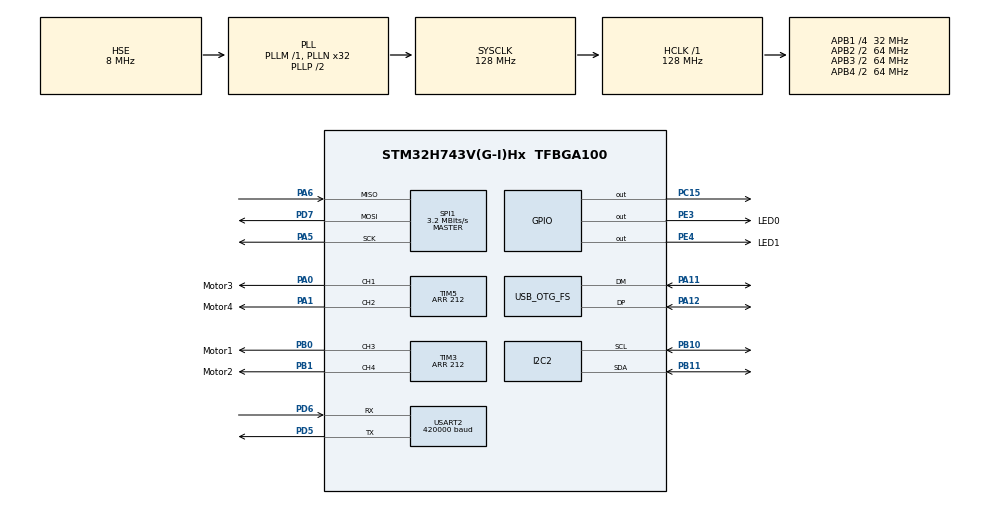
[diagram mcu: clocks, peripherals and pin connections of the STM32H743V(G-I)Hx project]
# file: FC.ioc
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CORTEX_M7.default_mode_Activation=1
Dma.Request0=TIM3_CH3
Dma.Request1=TIM3_CH4
Dma.Request2=TIM5_CH1
Dma.Request3=TIM5_CH2
Dma.Request4=USART2_RX
Dma.TIM3_CH3.0.Direction=DMA_MEMORY_TO_PERIPH
Dma.TIM3_CH3.0.EventEnable=DISABLE
Dma.TIM3_CH3.0.FIFOMode=DMA_FIFOMODE_DISABLE
Dma.TIM3_CH3.0.Instance=DMA1_Stream0
Dma.TIM3_CH3.0.MemDataAlignment=DMA_MDATAALIGN_HALFWORD
Dma.TIM3_CH3.0.MemInc=DMA_MINC_ENABLE
Dma.TIM3_CH3.0.Mode=DMA_NORMAL
Dma.TIM3_CH3.0.PeriphDataAlignment=DMA_PDATAALIGN_HALFWORD
Dma.TIM3_CH3.0.PeriphInc=DMA_PINC_DISABLE
Dma.TIM3_CH3.0.Polarity=HAL_DMAMUX_REQ_GEN_RISING
Dma.TIM3_CH3.0.Priority=DMA_PRIORITY_HIGH
Dma.TIM3_CH3.0.RequestNumber=1
Dma.TIM3_CH3.0.SignalID=NONE
Dma.TIM3_CH3.0.SyncEnable=DISABLE
Dma.TIM3_CH3.0.SyncPolarity=HAL_DMAMUX_SYNC_NO_EVENT
Dma.TIM3_CH3.0.SyncRequestNumber=1
Dma.TIM3_CH3.0.SyncSignalID=NONE
Dma.TIM3_CH4.1.Direction=DMA_MEMORY_TO_PERIPH
Dma.TIM3_CH4.1.EventEnable=DISABLE
Dma.TIM3_CH4.1.FIFOMode=DMA_FIFOMODE_DISABLE
Dma.TIM3_CH4.1.Instance=DMA1_Stream1
Dma.TIM3_CH4.1.MemDataAlignment=DMA_MDATAALIGN_HALFWORD
Dma.TIM3_CH4.1.MemInc=DMA_MINC_ENABLE
Dma.TIM3_CH4.1.Mode=DMA_NORMAL
Dma.TIM3_CH4.1.PeriphDataAlignment=DMA_PDATAALIGN_HALFWORD
Dma.TIM3_CH4.1.PeriphInc=DMA_PINC_DISABLE
Dma.TIM3_CH4.1.Polarity=HAL_DMAMUX_REQ_GEN_RISING
Dma.TIM3_CH4.1.Priority=DMA_PRIORITY_HIGH
Dma.TIM3_CH4.1.RequestNumber=1
Dma.TIM3_CH4.1.SignalID=NONE
Dma.TIM3_CH4.1.SyncEnable=DISABLE
Dma.TIM3_CH4.1.SyncPolarity=HAL_DMAMUX_SYNC_NO_EVENT
Dma.TIM3_CH4.1.SyncRequestNumber=1
Dma.TIM3_CH4.1.SyncSignalID=NONE
Dma.TIM5_CH1.2.Direction=DMA_MEMORY_TO_PERIPH
Dma.TIM5_CH1.2.EventEnable=DISABLE
Dma.TIM5_CH1.2.FIFOMode=DMA_FIFOMODE_DISABLE
Dma.TIM5_CH1.2.Instance=DMA1_Stream2
Dma.TIM5_CH1.2.MemDataAlignment=DMA_MDATAALIGN_WORD
Dma.TIM5_CH1.2.MemInc=DMA_MINC_ENABLE
Dma.TIM5_CH1.2.Mode=DMA_NORMAL
Dma.TIM5_CH1.2.PeriphDataAlignment=DMA_PDATAALIGN_WORD
Dma.TIM5_CH1.2.PeriphInc=DMA_PINC_DISABLE
Dma.TIM5_CH1.2.Polarity=HAL_DMAMUX_REQ_GEN_RISING
Dma.TIM5_CH1.2.Priority=DMA_PRIORITY_VERY_HIGH
Dma.TIM5_CH1.2.RequestNumber=1
Dma.TIM5_CH1.2.SignalID=NONE
Dma.TIM5_CH1.2.SyncEnable=DISABLE
Dma.TIM5_CH1.2.SyncPolarity=HAL_DMAMUX_SYNC_NO_EVENT
Dma.TIM5_CH1.2.SyncRequestNumber=1
Dma.TIM5_CH1.2.SyncSignalID=NONE
Dma.TIM5_CH2.3.Direction=DMA_MEMORY_TO_PERIPH
Dma.TIM5_CH2.3.EventEnable=DISABLE
Dma.TIM5_CH2.3.FIFOMode=DMA_FIFOMODE_DISABLE
Dma.TIM5_CH2.3.Instance=DMA1_Stream3
Dma.TIM5_CH2.3.MemDataAlignment=DMA_MDATAALIGN_WORD
Dma.TIM5_CH2.3.MemInc=DMA_MINC_ENABLE
Dma.TIM5_CH2.3.Mode=DMA_NORMAL
Dma.TIM5_CH2.3.PeriphDataAlignment=DMA_PDATAALIGN_WORD
Dma.TIM5_CH2.3.PeriphInc=DMA_PINC_DISABLE
Dma.TIM5_CH2.3.Polarity=HAL_DMAMUX_REQ_GEN_RISING
Dma.TIM5_CH2.3.Priority=DMA_PRIORITY_VERY_HIGH
Dma.TIM5_CH2.3.RequestNumber=1
Dma.TIM5_CH2.3.SignalID=NONE
Dma.TIM5_CH2.3.SyncEnable=DISABLE
Dma.TIM5_CH2.3.SyncPolarity=HAL_DMAMUX_SYNC_NO_EVENT
Dma.TIM5_CH2.3.SyncRequestNumber=1
Dma.TIM5_CH2.3.SyncSignalID=NONE
Dma.USART2_RX.4.Direction=DMA_PERIPH_TO_MEMORY
Dma.USART2_RX.4.EventEnable=DISABLE
Dma.USART2_RX.4.FIFOMode=DMA_FIFOMODE_DISABLE
Dma.USART2_RX.4.Instance=DMA1_Stream4
Dma.USART2_RX.4.MemDataAlignment=DMA_MDATAALIGN_BYTE
Dma.USART2_RX.4.MemInc=DMA_MINC_ENABLE
Dma.USART2_RX.4.Mode=DMA_CIRCULAR
Dma.USART2_RX.4.PeriphDataAlignment=DMA_PDATAALIGN_BYTE
Dma.USART2_RX.4.PeriphInc=DMA_PINC_DISABLE
Dma.USART2_RX.4.Polarity=HAL_DMAMUX_REQ_GEN_RISING
Dma.USART2_RX.4.Priority=DMA_PRIORITY_VERY_HIGH
Dma.USART2_RX.4.RequestNumber=1
Dma.USART2_RX.4.SignalID=NONE
Dma.USART2_RX.4.SyncEnable=DISABLE
Dma.USART2_RX.4.SyncPolarity=HAL_DMAMUX_SYNC_NO_EVENT
Dma.USART2_RX.4.SyncRequestNumber=1
Dma.USART2_RX.4.SyncSignalID=NONE
FREERTOS.Tasks01=defaultTask,24,1024,StartDefaultTask,Default,NULL,Dynamic,NULL,NULL;LED_Control,8,256,StartTask02,Default,NULL,Dynamic,NULL,NULL;Attitude_Algori,8,1024,StartTask03,Default,NULL,Dynamic,NULL,NULL;PID_LOOP,32,1024,StartTask04,Default,NULL,Dynamic,NULL,NULL
I2C2.Timing=0x00707CBB
Mcu.Family=STM32H7
Mcu.Name=STM32H743V(G-I)Hx
Mcu.Package=TFBGA100
NVIC.DMA1_Stream0_IRQn=true\:5\:0\:false\:false\:true\:true\:false\:true\:true
NVIC.DMA1_Stream1_IRQn=true\:5\:0\:false\:false\:true\:true\:false\:true\:true
NVIC.DMA1_Stream2_IRQn=true\:5\:0\:false\:false\:true\:true\:false\:true\:true
NVIC.DMA1_Stream3_IRQn=true\:5\:0\:false\:false\:true\:true\:false\:true\:true
NVIC.DMA1_Stream4_IRQn=true\:5\:0\:false\:false\:true\:true\:false\:true\:true
NVIC.OTG_FS_IRQn=true\:5\:0\:false\:false\:true\:true\:false\:true\:true
NVIC.PriorityGroup=NVIC_PRIORITYGROUP_4
NVIC.TIM2_IRQn=true\:15\:0\:false\:false\:true\:false\:false\:true\:true
NVIC.TimeBase=TIM2_IRQn
NVIC.TimeBaseIP=TIM2
PA0.GPIO_Label=Motor3
PA0.GPIO_Speed=GPIO_SPEED_FREQ_VERY_HIGH
PA0.Signal=S_TIM5_CH1
PA1.GPIO_Label=Motor4
PA1.GPIO_Speed=GPIO_SPEED_FREQ_VERY_HIGH
PA1.Signal=S_TIM5_CH2
PA11.Mode=Device_Only
PA11.Signal=USB_OTG_FS_DM
PA12.Mode=Device_Only
PA12.Signal=USB_OTG_FS_DP
PA13\ (JTMS/SWDIO).Mode=Serial_Wire
PA13\ (JTMS/SWDIO).Signal=DEBUG_JTMS-SWDIO
PA14\ (JTCK/SWCLK).Mode=Serial_Wire
PA14\ (JTCK/SWCLK).Signal=DEBUG_JTCK-SWCLK
PA5.GPIO_Speed=GPIO_SPEED_FREQ_VERY_HIGH
PA5.Mode=Full_Duplex_Master
PA5.Signal=SPI1_SCK
PA6.GPIO_Speed=GPIO_SPEED_FREQ_VERY_HIGH
PA6.Mode=Full_Duplex_Master
PA6.Signal=SPI1_MISO
PB0.GPIO_Label=Motor1
PB0.GPIO_Speed=GPIO_SPEED_FREQ_VERY_HIGH
PB0.Signal=S_TIM3_CH3
PB1.GPIO_Label=Motor2
PB1.GPIO_Speed=GPIO_SPEED_FREQ_VERY_HIGH
PB1.Signal=S_TIM3_CH4
PB10.Mode=I2C
PB10.Signal=I2C2_SCL
PB11.Mode=I2C
PB11.Signal=I2C2_SDA
PC15-OSC32_OUT\ (OSC32_OUT).PinState=GPIO_PIN_SET
PC15-OSC32_OUT\ (OSC32_OUT).Signal=GPIO_Output
PD5.Mode=Asynchronous
PD5.Signal=USART2_TX
PD6.Mode=Asynchronous
PD6.Signal=USART2_RX
PD7.GPIO_Speed=GPIO_SPEED_FREQ_VERY_HIGH
PD7.Mode=Full_Duplex_Master
PD7.Signal=SPI1_MOSI
PE3.GPIO_Label=LED0
PE3.PinState=GPIO_PIN_SET
PE3.Signal=GPIO_Output
PE4.GPIO_Label=LED1
PE4.PinState=GPIO_PIN_SET
PE4.Signal=GPIO_Output
PH0-OSC_IN\ (PH0).Mode=HSE-External-Oscillator
PH0-OSC_IN\ (PH0).Signal=RCC_OSC_IN
PH1-OSC_OUT\ (PH1).Mode=HSE-External-Oscillator
PH1-OSC_OUT\ (PH1).Signal=RCC_OSC_OUT
ProjectManager.HeapSize=0x200
ProjectManager.StackSize=0x400
ProjectManager.TargetToolchain=CMake
RCC.ADCFreq_Value=16125000
RCC.APB1Freq_Value=32000000
RCC.APB2Freq_Value=64000000
RCC.APB3Freq_Value=64000000
RCC.APB4Freq_Value=64000000
RCC.CortexFreq_Value=128000000
RCC.D1PPRE=RCC_APB3_DIV2
RCC.D2PPRE1=RCC_APB1_DIV4
RCC.D2PPRE2=RCC_APB2_DIV2
RCC.D3PPRE=RCC_APB4_DIV2
RCC.DIVM1=1
RCC.DIVN1=32
RCC.DIVQ1=5
RCC.HCLKFreq_Value=128000000
RCC.HSE_VALUE=8000000
RCC.PLL2FRACN=0
RCC.PLL3FRACN=0
RCC.PLLFRACN=0
RCC.PLLSourceVirtual=RCC_PLLSOURCE_HSE
RCC.RCC_TIM_PRescaler_Selection=RCC_TIMPRES_ACTIVATED
RCC.SYSCLKFreq_VALUE=128000000
RCC.SYSCLKSource=RCC_SYSCLKSOURCE_PLLCLK
RCC.Tim1Mul=4
RCC.USBCLockSelection=RCC_USBCLKSOURCE_HSI48
RCC.USBFreq_Value=48000000
SH.S_TIM3_CH3.0=TIM3_CH3,PWM Generation3 CH3
SH.S_TIM3_CH4.0=TIM3_CH4,PWM Generation4 CH4
SH.S_TIM5_CH1.0=TIM5_CH1,PWM Generation1 CH1
SH.S_TIM5_CH2.0=TIM5_CH2,PWM Generation2 CH2
SPI1.BaudRatePrescaler=SPI_BAUDRATEPRESCALER_16
SPI1.CalculateBaudRate=3.2 MBits/s
SPI1.DataSize=SPI_DATASIZE_8BIT
SPI1.Direction=SPI_DIRECTION_2LINES
SPI1.Mode=SPI_MODE_MASTER
SPI1.VirtualType=VM_MASTER
TIM3.Channel-PWM\ Generation3\ CH3=TIM_CHANNEL_3
TIM3.Channel-PWM\ Generation4\ CH4=TIM_CHANNEL_4
TIM3.Period=212
TIM5.Channel-PWM\ Generation1\ CH1=TIM_CHANNEL_1
TIM5.Channel-PWM\ Generation2\ CH2=TIM_CHANNEL_2
TIM5.Period=212
USART2.BaudRate=420000
USART2.VirtualMode-Asynchronous=VM_ASYNC
USB_DEVICE.CLASS_NAME_FS=CDC
USB_DEVICE.VirtualMode-CDC_FS=Cdc
USB_DEVICE.VirtualModeFS=Cdc_FS
USB_OTG_FS.VirtualMode=Device_Only
VP_FREERTOS_VS_CMSIS_V2.Mode=CMSIS_V2
VP_SYS_VS_tim2.Mode=TIM2
VP_TIM3_VS_ClockSourceINT.Mode=Internal
VP_TIM5_VS_ClockSourceINT.Mode=Internal
VP_USB_DEVICE_VS_USB_DEVICE_CDC_FS.Mode=CDC_FS
board=custom

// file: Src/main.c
/* USER CODE BEGIN Header */
/**
  ******************************************************************************
  * @file           : main.c
  * @brief          : Main program body
  ******************************************************************************
  * @attention
  *
  * Copyright (c) 2026 STMicroelectronics.
  * All rights reserved.
  *
  * This software is licensed under terms that can be found in the LICENSE file
  * in the root directory of this software component.
  * If no LICENSE file comes with this software, it is provided AS-IS.
  *
  ******************************************************************************
  */
/* USER CODE END Header */
#include "main.h"
#include "cmsis_os.h"
#include "dma.h"
#include "i2c.h"
#include "spi.h"
#include "tim.h"
#include "usart.h"
#include "usb_device.h"
#include "gpio.h"

/* USER CODE BEGIN Includes */
#include "Motor_Control.h"
#include "dfu.h"
/* USER CODE END Includes */

void SystemClock_Config(void);
void PeriphCommonClock_Config(void);
static void MPU_Config(void);
void MX_FREERTOS_Init(void);

int main(void)
{

  /* USER CODE BEGIN 1 */
  DFU_CheckBootRequest();

  /* USER CODE END 1 */

  /* MPU Configuration--------------------------------------------------------*/
  MPU_Config();

  /* MCU Configuration--------------------------------------------------------*/

  /* Reset of all peripherals, Initializes the Flash interface and the Systick. */
  HAL_Init();

  /* Configure the system clock */
  SystemClock_Config();

/* Configure the peripherals common clocks */
  PeriphCommonClock_Config();

  /* Initialize all configured peripherals */
  MX_GPIO_Init();
  MX_DMA_Init();
  MX_TIM3_Init();
  MX_TIM5_Init();
  MX_SPI1_Init();
  MX_I2C2_Init();
  MX_USART2_UART_Init();
  /* USER CODE BEGIN 2 */
//  Motor_Test_Run();

  /* USER CODE END 2 */

  /* Init scheduler */
  osKernelInitialize();

  /* Call init function for freertos objects (in cmsis_os2.c) */
  MX_FREERTOS_Init();

  /* Start scheduler */
  osKernelStart();

  /* We should never get here as control is now taken by the scheduler */

  /* Infinite loop */
  while (1)
  {

  }
}

void SystemClock_Config(void)
{
  RCC_OscInitTypeDef RCC_OscInitStruct = {0};
  RCC_ClkInitTypeDef RCC_ClkInitStruct = {0};

  /** Supply configuration update enable
  */
  HAL_PWREx_ConfigSupply(PWR_LDO_SUPPLY);

  /** Configure the main internal regulator output voltage
  */
  __HAL_PWR_VOLTAGESCALING_CONFIG(PWR_REGULATOR_VOLTAGE_SCALE3);

  while(!__HAL_PWR_GET_FLAG(PWR_FLAG_VOSRDY)) {}

  /** Initializes the RCC Oscillators according to the specified parameters
  * in the RCC_OscInitTypeDef structure.
  */
  RCC_OscInitStruct.OscillatorType = RCC_OSCILLATORTYPE_HSI48|RCC_OSCILLATORTYPE_HSE;
  RCC_OscInitStruct.HSEState = RCC_HSE_ON;
  RCC_OscInitStruct.HSI48State = RCC_HSI48_ON;
  RCC_OscInitStruct.PLL.PLLState = RCC_PLL_ON;
  RCC_OscInitStruct.PLL.PLLSource = RCC_PLLSOURCE_HSE;
  RCC_OscInitStruct.PLL.PLLM = 1;
  RCC_OscInitStruct.PLL.PLLN = 32;
  RCC_OscInitStruct.PLL.PLLP = 2;
  RCC_OscInitStruct.PLL.PLLQ = 5;
  RCC_OscInitStruct.PLL.PLLR = 2;
  RCC_OscInitStruct.PLL.PLLRGE = RCC_PLL1VCIRANGE_3;
  RCC_OscInitStruct.PLL.PLLVCOSEL = RCC_PLL1VCOWIDE;
  RCC_OscInitStruct.PLL.PLLFRACN = 0;
  if (HAL_RCC_OscConfig(&RCC_OscInitStruct) != HAL_OK)
  {
    Error_Handler();
  }

  /** Initializes the CPU, AHB and APB buses clocks
  */
  RCC_ClkInitStruct.ClockType = RCC_CLOCKTYPE_HCLK|RCC_CLOCKTYPE_SYSCLK
                              |RCC_CLOCKTYPE_PCLK1|RCC_CLOCKTYPE_PCLK2
                              |RCC_CLOCKTYPE_D3PCLK1|RCC_CLOCKTYPE_D1PCLK1;
  RCC_ClkInitStruct.SYSCLKSource = RCC_SYSCLKSOURCE_PLLCLK;
  RCC_ClkInitStruct.SYSCLKDivider = RCC_SYSCLK_DIV1;
  RCC_ClkInitStruct.AHBCLKDivider = RCC_HCLK_DIV1;
  RCC_ClkInitStruct.APB3CLKDivider = RCC_APB3_DIV2;
  RCC_ClkInitStruct.APB1CLKDivider = RCC_APB1_DIV4;
  RCC_ClkInitStruct.APB2CLKDivider = RCC_APB2_DIV2;
  RCC_ClkInitStruct.APB4CLKDivider = RCC_APB4_DIV2;

  if (HAL_RCC_ClockConfig(&RCC_ClkInitStruct, FLASH_LATENCY_2) != HAL_OK)
  {
    Error_Handler();
  }
}

void PeriphCommonClock_Config(void)
{
  RCC_PeriphCLKInitTypeDef PeriphClkInitStruct = {0};

  /** Initializes the peripherals clock
  */
  PeriphClkInitStruct.PeriphClockSelection = RCC_PERIPHCLK_TIM;
  PeriphClkInitStruct.TIMPresSelection = RCC_TIMPRES_ACTIVATED;

  if (HAL_RCCEx_PeriphCLKConfig(&PeriphClkInitStruct) != HAL_OK)
  {
    Error_Handler();
  }
}

 /* MPU Configuration */

void MPU_Config(void)
{
  MPU_Region_InitTypeDef MPU_InitStruct = {0};

  /* Disables the MPU */
  HAL_MPU_Disable();

  /** Initializes and configures the Region and the memory to be protected
  */
  MPU_InitStruct.Enable = MPU_REGION_ENABLE;
  MPU_InitStruct.Number = MPU_REGION_NUMBER0;
  MPU_InitStruct.BaseAddress = 0x0;
  MPU_InitStruct.Size = MPU_REGION_SIZE_4GB;
  MPU_InitStruct.SubRegionDisable = 0x87;
  MPU_InitStruct.TypeExtField = MPU_TEX_LEVEL0;
  MPU_InitStruct.AccessPermission = MPU_REGION_NO_ACCESS;
  MPU_InitStruct.DisableExec = MPU_INSTRUCTION_ACCESS_DISABLE;
  MPU_InitStruct.IsShareable = MPU_ACCESS_SHAREABLE;
  MPU_InitStruct.IsCacheable = MPU_ACCESS_NOT_CACHEABLE;
  MPU_InitStruct.IsBufferable = MPU_ACCESS_NOT_BUFFERABLE;

  HAL_MPU_ConfigRegion(&MPU_InitStruct);
  /* Enables the MPU */
  HAL_MPU_Enable(MPU_PRIVILEGED_DEFAULT);

}

void HAL_TIM_PeriodElapsedCallback(TIM_HandleTypeDef *htim)
{
  if (htim->Instance == TIM2) {
    HAL_IncTick();
  }
}

void Error_Handler(void)
{
  __disable_irq();
  while (1)
  {
  }
}

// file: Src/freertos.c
/* USER CODE BEGIN Header */
/**
  ******************************************************************************
  * File Name          : freertos.c
  * Description        : Code for freertos applications
  ******************************************************************************
  * @attention
  *
  * Copyright (c) 2026 STMicroelectronics.
  * All rights reserved.
  *
  * This software is licensed under terms that can be found in the LICENSE file
  * in the root directory of this software component.
  * If no LICENSE file comes with this software, it is provided AS-IS.
  *
  ******************************************************************************
  */
/* USER CODE END Header */

#include "FreeRTOS.h"
#include "task.h"
#include "main.h"
#include "cmsis_os.h"

/* USER CODE BEGIN Includes */
#include "Motor_Control.h"
#include "../Peripherals/ICM42688P.h"
#include "../Peripherals/IST8310.h"
#include "Kalman.h"
#include "PID_LOOP.h"
#include "crsf.h"
#include "dfu.h"
#include "../Peripherals/uart.h"
#include <stdio.h>
#include <limits.h>
/* USER CODE END Includes */

/* Definitions for defaultTask */
osThreadId_t defaultTaskHandle;
const osThreadAttr_t defaultTask_attributes = {
  .name = "defaultTask",
  .stack_size = 1024 * 4,
  .priority = (osPriority_t) osPriorityNormal,
};
/* Definitions for LED_Control */
osThreadId_t LED_ControlHandle;
const osThreadAttr_t LED_Control_attributes = {
  .name = "LED_Control",
  .stack_size = 256 * 4,
  .priority = (osPriority_t) osPriorityLow,
};
/* Definitions for Attitude_Algori */
osThreadId_t Attitude_AlgoriHandle;
const osThreadAttr_t Attitude_Algori_attributes = {
  .name = "Attitude_Algori",
  .stack_size = 1024 * 4,
  .priority = (osPriority_t) osPriorityLow,
};
/* Definitions for PID_LOOP */
osThreadId_t PID_LOOPHandle;
const osThreadAttr_t PID_LOOP_attributes = {
  .name = "PID_LOOP",
  .stack_size = 1024 * 4,
  .priority = (osPriority_t) osPriorityAboveNormal,
};

/* USER CODE BEGIN FunctionPrototypes */
static void __attribute__((unused)) Mag_Calibration_Run(void);

/* USER CODE END FunctionPrototypes */

void StartDefaultTask(void *argument);
void StartTask02(void *argument);
void StartTask03(void *argument);
void StartTask04(void *argument);

extern void MX_USB_DEVICE_Init(void);
void MX_FREERTOS_Init(void); /* (MISRA C 2004 rule 8.1) */

void MX_FREERTOS_Init(void) {

  /* Create the thread(s) */
  /* creation of defaultTask */
  defaultTaskHandle = osThreadNew(StartDefaultTask, NULL, &defaultTask_attributes);

  /* creation of LED_Control */
  LED_ControlHandle = osThreadNew(StartTask02, NULL, &LED_Control_attributes);

  /* creation of Attitude_Algori */
  Attitude_AlgoriHandle = osThreadNew(StartTask03, NULL, &Attitude_Algori_attributes);

  /* creation of PID_LOOP */
  PID_LOOPHandle = osThreadNew(StartTask04, NULL, &PID_LOOP_attributes);

}

void StartDefaultTask(void *argument)
{
  /* init code for USB_DEVICE */
  MX_USB_DEVICE_Init();
  /* USER CODE BEGIN StartDefaultTask */
  (void)CRSF_Init();

  /* Infinite loop */
  for(;;)
  {
    DFU_CheckCommand();
    CRSF_Update();
    osDelay(1);
  }
  /* USER CODE END StartDefaultTask */
}

void StartTask02(void *argument)
{
  /* USER CODE BEGIN StartTask02 */
  /* Infinite loop */
  for(;;)
  {

		HAL_GPIO_TogglePin(GPIOE,LED0_Pin);

    osDelay(500);
  }
  /* USER CODE END StartTask02 */
}

void StartTask03(void *argument)
{
  /* USER CODE BEGIN StartTask03 */
  int16_t pitch_cd = 0;
  int16_t roll_cd = 0;
  int16_t yaw_cd = 0;
  float gyro_x_dps = 0.0f;
  float gyro_y_dps = 0.0f;
  float gyro_z_dps = 0.0f;
  uint16_t motor1 = 0U;
  uint16_t motor2 = 0U;
  uint16_t motor3 = 0U;
  uint16_t motor4 = 0U;
  char tx_buf[256];
  int tx_len = 0;

  (void)ICM42688P_Init();
  (void)IST8310_Init();
  UART_Init();
//  Mag_Calibration_Run();
  Kalman_SetMagCalibration(156.0f, -18.0f, -2.0f, 0.9662f, 1.0601f, 0.9786f);
  Kalman_Init();
  Kalman_CalibrateGyroBias(150U, 10U);

  for (uint32_t i = 0; i < 75U; i++)
  {
    (void)Kalman_GetAttitude(&pitch_cd, &roll_cd, &yaw_cd);
    osDelay(20);
  }
  Kalman_ResetReference();
  pitch_cd = 0;
  roll_cd = 0;
  yaw_cd = 0;

  /* Infinite loop */
  for(;;)
  {
    (void)Kalman_GetAttitude(&pitch_cd, &roll_cd, &yaw_cd);
    Kalman_GetGyroDps(&gyro_x_dps, &gyro_y_dps, &gyro_z_dps);
    PID_LOOP_UpdateAttitude(pitch_cd, roll_cd, yaw_cd, gyro_x_dps, gyro_y_dps, gyro_z_dps);
    PID_LOOP_GetMotorOutput(&motor1, &motor2, &motor3, &motor4);
    tx_len = snprintf(tx_buf, sizeof(tx_buf),
                      "crsf=%u arm=%u frame=%u err=%u ch1=%u ch2=%u ch3=%u ch4=%u ch5=%u ch6=%u\r\n",
                      (unsigned int)CRSF_IsConnected(),
                      (unsigned int)PID_LOOP_IsArmed(),
                      (unsigned int)CRSF_GetFrameCount(),
                      (unsigned int)CRSF_GetErrorCount(),
                      (unsigned int)CRSF_GetChannelUs(0),
                      (unsigned int)CRSF_GetChannelUs(1),
                      (unsigned int)CRSF_GetChannelUs(2),
                      (unsigned int)CRSF_GetChannelUs(3),
                      (unsigned int)CRSF_GetChannelUs(4),
                      (unsigned int)CRSF_GetChannelUs(5));
    if (tx_len > 0)
    {
      (void)UART_SendBuffer((const uint8_t *)tx_buf, (uint16_t)tx_len);
    }

    osDelay(20);
  }
  /* USER CODE END StartTask03 */
}

void StartTask04(void *argument)
{
  /* USER CODE BEGIN StartTask04 */
  PID_LOOP_Run();
  /* USER CODE END StartTask04 */
}

/* USER CODE BEGIN Application */
static void __attribute__((unused)) Mag_Calibration_Run(void)
{
  int16_t mx = 0;
  int16_t my = 0;
  int16_t mz = 0;
  int16_t min_x = INT16_MAX;
  int16_t min_y = INT16_MAX;
  int16_t min_z = INT16_MAX;
  int16_t max_x = INT16_MIN;
  int16_t max_y = INT16_MIN;
  int16_t max_z = INT16_MIN;
  float offset_x = 0.0f;
  float offset_y = 0.0f;
  float offset_z = 0.0f;
  float range_x = 1.0f;
  float range_y = 1.0f;
  float range_z = 1.0f;
  float avg_range = 1.0f;
  float scale_x = 1.0f;
  float scale_y = 1.0f;
  float scale_z = 1.0f;
  uint32_t start_tick = HAL_GetTick();
  char tx[160];
  int len = 0;
  int32_t offset_x100 = 0;
  int32_t offset_y100 = 0;
  int32_t offset_z100 = 0;
  int32_t scale_x10000 = 10000;
  int32_t scale_y10000 = 10000;
  int32_t scale_z10000 = 10000;

  while ((UART_IsConnected() == 0U) && ((HAL_GetTick() - start_tick) < 5000U))
  {
    osDelay(20);
  }

  (void)UART_SendText("MAG CAL START: rotate all axes for 30s\r\n");
  start_tick = HAL_GetTick();

  while ((HAL_GetTick() - start_tick) < 30000U)
  {
    if (IST8310_ReadMagRaw(&mx, &my, &mz) != 0U)
    {
      if (mx < min_x) min_x = mx;
      if (my < min_y) min_y = my;
      if (mz < min_z) min_z = mz;
      if (mx > max_x) max_x = mx;
      if (my > max_y) max_y = my;
      if (mz > max_z) max_z = mz;
    }

    osDelay(20);
  }

  offset_x = ((float)max_x + (float)min_x) * 0.5f;
  offset_y = ((float)max_y + (float)min_y) * 0.5f;
  offset_z = ((float)max_z + (float)min_z) * 0.5f;
  range_x = ((float)max_x - (float)min_x) * 0.5f;
  range_y = ((float)max_y - (float)min_y) * 0.5f;
  range_z = ((float)max_z - (float)min_z) * 0.5f;

  if ((range_x > 1.0f) && (range_y > 1.0f) && (range_z > 1.0f))
  {
    avg_range = (range_x + range_y + range_z) / 3.0f;
    scale_x = avg_range / range_x;
    scale_y = avg_range / range_y;
    scale_z = avg_range / range_z;
  }

  Kalman_SetMagCalibration(offset_x, offset_y, offset_z, scale_x, scale_y, scale_z);
  offset_x100 = (int32_t)(offset_x * 100.0f);
  offset_y100 = (int32_t)(offset_y * 100.0f);
  offset_z100 = (int32_t)(offset_z * 100.0f);
  scale_x10000 = (int32_t)(scale_x * 10000.0f);
  scale_y10000 = (int32_t)(scale_y * 10000.0f);
  scale_z10000 = (int32_t)(scale_z * 10000.0f);

  len = snprintf(tx, sizeof(tx),
                 "MAG CAL DONE\r\n"
                 "min=%d,%d,%d max=%d,%d,%d\r\n"
                 "offset_x100=%ld,%ld,%ld scale_x10000=%ld,%ld,%ld\r\n",
                 min_x, min_y, min_z, max_x, max_y, max_z,
                 (long)offset_x100, (long)offset_y100, (long)offset_z100,
                 (long)scale_x10000, (long)scale_y10000, (long)scale_z10000);
  if (len > 0)
  {
    (void)UART_SendBuffer((const uint8_t *)tx, (uint16_t)len);
  }
}

/* USER CODE END Application */
